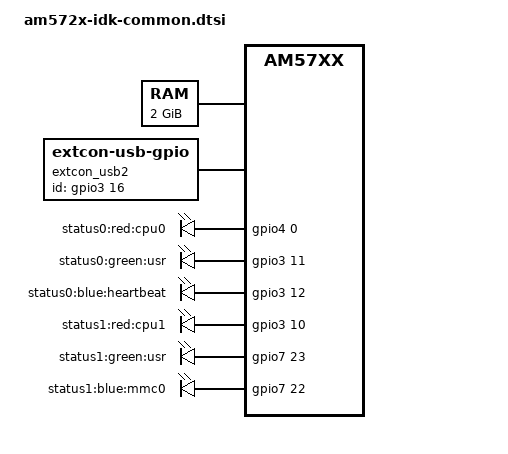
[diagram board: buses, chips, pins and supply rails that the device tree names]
/*
 * Copyright (C) 2015-2016 Texas Instruments Incorporated - http://www.ti.com/
 *
 * This program is free software; you can redistribute it and/or modify
 * it under the terms of the GNU General Public License version 2 as
 * published by the Free Software Foundation.
 */

#include <dt-bindings/gpio/gpio.h>
#include <dt-bindings/interrupt-controller/irq.h>
#include "am57xx-idk-common.dtsi"

/ {
	memory@0 {
		device_type = "memory";
		reg = <0x0 0x80000000 0x0 0x80000000>;
	};

	extcon_usb2: extcon_usb2 {
		compatible = "linux,extcon-usb-gpio";
		id-gpio = <&gpio3 16 GPIO_ACTIVE_HIGH>;
	};

	status-leds {
		compatible = "gpio-leds";
		cpu0-led {
			label = "status0:red:cpu0";
			gpios = <&gpio4 0 GPIO_ACTIVE_HIGH>;
			default-state = "off";
			linux,default-trigger = "cpu0";
		};

		usr0-led {
			label = "status0:green:usr";
			gpios = <&gpio3 11 GPIO_ACTIVE_HIGH>;
			default-state = "off";
		};

		heartbeat-led {
			label = "status0:blue:heartbeat";
			gpios = <&gpio3 12 GPIO_ACTIVE_HIGH>;
			default-state = "off";
			linux,default-trigger = "heartbeat";
		};

		cpu1-led {
			label = "status1:red:cpu1";
			gpios = <&gpio3 10 GPIO_ACTIVE_HIGH>;
			default-state = "off";
			linux,default-trigger = "cpu1";
		};

		usr1-led {
			label = "status1:green:usr";
			gpios = <&gpio7 23 GPIO_ACTIVE_HIGH>;
			default-state = "off";
		};

		mmc0-led {
			label = "status1:blue:mmc0";
			gpios = <&gpio7 22 GPIO_ACTIVE_HIGH>;
			default-state = "off";
			linux,default-trigger = "mmc0";
		};
	};
};

&dra7_pmx_core {
	mmc1_pins_default: mmc1_pins_default {
		pinctrl-single,pins = <
			DRA7XX_CORE_IOPAD(0x3754, PIN_INPUT_PULLUP | MUX_MODE0)/* mmc1_clk.clk */
			DRA7XX_CORE_IOPAD(0x3758, PIN_INPUT | MUX_MODE0)	    /* mmc1_cmd.cmd */
			DRA7XX_CORE_IOPAD(0x375c, PIN_INPUT | MUX_MODE0)	    /* mmc1_dat0.dat0 */
			DRA7XX_CORE_IOPAD(0x3760, PIN_INPUT | MUX_MODE0)	    /* mmc1_dat1.dat1 */
			DRA7XX_CORE_IOPAD(0x3764, PIN_INPUT | MUX_MODE0)	    /* mmc1_dat2.dat2 */
			DRA7XX_CORE_IOPAD(0x3768, PIN_INPUT | MUX_MODE0)	    /* mmc1_dat3.dat3 */
		>;
	};

	mmc1_pins_sdr12: pinmux_mmc1_sdr12_pins {
		pinctrl-single,pins = <
			DRA7XX_CORE_IOPAD(0x3754, PIN_INPUT_PULLUP | MUX_MODE0)/* mmc1_clk.clk */
			DRA7XX_CORE_IOPAD(0x3758, PIN_INPUT | MUX_MODE0)	    /* mmc1_cmd.cmd */
			DRA7XX_CORE_IOPAD(0x375c, PIN_INPUT | MUX_MODE0)	    /* mmc1_dat0.dat0 */
			DRA7XX_CORE_IOPAD(0x3760, PIN_INPUT | MUX_MODE0)	    /* mmc1_dat1.dat1 */
			DRA7XX_CORE_IOPAD(0x3764, PIN_INPUT | MUX_MODE0)	    /* mmc1_dat2.dat2 */
			DRA7XX_CORE_IOPAD(0x3768, PIN_INPUT | MUX_MODE0)	    /* mmc1_dat3.dat3 */
		>;
	};

	mmc1_pins_hs: mmc1_pins_hs {
		pinctrl-single,pins = <
			DRA7XX_CORE_IOPAD(0x3754, PIN_INPUT_PULLUP | MUX_VIRTUAL_MODE11 | MUX_MODE0)/* mmc1_clk.clk */
			DRA7XX_CORE_IOPAD(0x3758, PIN_INPUT | MUX_VIRTUAL_MODE11 | MUX_MODE0)	 /* mmc1_cmd.cmd */
			DRA7XX_CORE_IOPAD(0x375c, PIN_INPUT | MUX_VIRTUAL_MODE11 | MUX_MODE0)	 /* mmc1_dat0.dat0 */
			DRA7XX_CORE_IOPAD(0x3760, PIN_INPUT | MUX_VIRTUAL_MODE11 | MUX_MODE0)	 /* mmc1_dat1.dat1 */
			DRA7XX_CORE_IOPAD(0x3764, PIN_INPUT | MUX_VIRTUAL_MODE11 | MUX_MODE0)	 /* mmc1_dat2.dat2 */
			DRA7XX_CORE_IOPAD(0x3768, PIN_INPUT | MUX_VIRTUAL_MODE11 | MUX_MODE0)	 /* mmc1_dat3.dat3 */
		>;
	};

	mmc1_pins_sdr25: pinmux_mmc1_sdr25_pins {
		pinctrl-single,pins = <
			DRA7XX_CORE_IOPAD(0x3754, PIN_INPUT_PULLUP | MUX_VIRTUAL_MODE11 | MUX_MODE0)/* mmc1_clk.clk */
			DRA7XX_CORE_IOPAD(0x3758, PIN_INPUT | MUX_VIRTUAL_MODE11 | MUX_MODE0)	 /* mmc1_cmd.cmd */
			DRA7XX_CORE_IOPAD(0x375c, PIN_INPUT | MUX_VIRTUAL_MODE11 | MUX_MODE0)	 /* mmc1_dat0.dat0 */
			DRA7XX_CORE_IOPAD(0x3760, PIN_INPUT | MUX_VIRTUAL_MODE11 | MUX_MODE0)	 /* mmc1_dat1.dat1 */
			DRA7XX_CORE_IOPAD(0x3764, PIN_INPUT | MUX_VIRTUAL_MODE11 | MUX_MODE0)	 /* mmc1_dat2.dat2 */
			DRA7XX_CORE_IOPAD(0x3768, PIN_INPUT | MUX_VIRTUAL_MODE11 | MUX_MODE0)	 /* mmc1_dat3.dat3 */
		>;
	};

	mmc1_pins_sdr50: pinmux_mmc1_sdr50_pins {
		pinctrl-single,pins = <
			DRA7XX_CORE_IOPAD(0x3754, PIN_INPUT_PULLUP | MUX_VIRTUAL_MODE10 | MUX_MODE0)/* mmc1_clk.clk */
			DRA7XX_CORE_IOPAD(0x3758, PIN_INPUT | MUX_VIRTUAL_MODE10 | MUX_MODE0)	 /* mmc1_cmd.cmd */
			DRA7XX_CORE_IOPAD(0x375c, PIN_INPUT | MUX_VIRTUAL_MODE10 | MUX_MODE0)	 /* mmc1_dat0.dat0 */
			DRA7XX_CORE_IOPAD(0x3760, PIN_INPUT | MUX_VIRTUAL_MODE10 | MUX_MODE0)	 /* mmc1_dat1.dat1 */
			DRA7XX_CORE_IOPAD(0x3764, PIN_INPUT | MUX_VIRTUAL_MODE10 | MUX_MODE0)	 /* mmc1_dat2.dat2 */
			DRA7XX_CORE_IOPAD(0x3768, PIN_INPUT | MUX_VIRTUAL_MODE10 | MUX_MODE0)	 /* mmc1_dat3.dat3 */
		>;
	};

	mmc1_pins_ddr50: pinmux_mmc1_ddr50_pins {
		pinctrl-single,pins = <
			DRA7XX_CORE_IOPAD(0x3754, PIN_INPUT_PULLUP | MODE_SELECT | MUX_MODE0)/* mmc1_clk.clk */
			DRA7XX_CORE_IOPAD(0x3758, PIN_INPUT | MODE_SELECT | MUX_MODE0)	  /* mmc1_cmd.cmd */
			DRA7XX_CORE_IOPAD(0x375c, PIN_INPUT | MODE_SELECT | MUX_MODE0)	  /* mmc1_dat0.dat0 */
			DRA7XX_CORE_IOPAD(0x3760, PIN_INPUT | MODE_SELECT | MUX_MODE0)	  /* mmc1_dat1.dat1 */
			DRA7XX_CORE_IOPAD(0x3764, PIN_INPUT | MODE_SELECT | MUX_MODE0)	  /* mmc1_dat2.dat2 */
			DRA7XX_CORE_IOPAD(0x3768, PIN_INPUT | MODE_SELECT | MUX_MODE0)	  /* mmc1_dat3.dat3 */
		>;
	};

	mmc1_pins_sdr104: pinmux_mmc1_sdr104_pins {
		pinctrl-single,pins = <
			DRA7XX_CORE_IOPAD(0x3754, PIN_INPUT_PULLUP | MODE_SELECT | MUX_MODE0)/* mmc1_clk.clk */
			DRA7XX_CORE_IOPAD(0x3758, PIN_INPUT | MODE_SELECT | MUX_MODE0)	  /* mmc1_cmd.cmd */
			DRA7XX_CORE_IOPAD(0x375c, PIN_INPUT | MODE_SELECT | MUX_MODE0)	  /* mmc1_dat0.dat0 */
			DRA7XX_CORE_IOPAD(0x3760, PIN_INPUT | MODE_SELECT | MUX_MODE0)	  /* mmc1_dat1.dat1 */
			DRA7XX_CORE_IOPAD(0x3764, PIN_INPUT | MODE_SELECT | MUX_MODE0)	  /* mmc1_dat2.dat2 */
			DRA7XX_CORE_IOPAD(0x3768, PIN_INPUT | MODE_SELECT | MUX_MODE0)	  /* mmc1_dat3.dat3 */
		>;
	};

	mmc2_pins_default: mmc2_pins_default {
		pinctrl-single,pins = <
			DRA7XX_CORE_IOPAD(0x349c, PIN_INPUT_PULLUP | MUX_MODE1)/* gpmc_a23.mmc2_clk */
			DRA7XX_CORE_IOPAD(0x34b0, PIN_INPUT | MUX_MODE1)	   /* gpmc_cs1.mmc2_cmd */
			DRA7XX_CORE_IOPAD(0x34a0, PIN_INPUT | MUX_MODE1)	   /* gpmc_a24.mmc2_dat0 */
			DRA7XX_CORE_IOPAD(0x34a4, PIN_INPUT | MUX_MODE1)	   /* gpmc_a25.mmc2_dat1 */
			DRA7XX_CORE_IOPAD(0x34a8, PIN_INPUT | MUX_MODE1)	   /* gpmc_a26.mmc2_dat2 */
			DRA7XX_CORE_IOPAD(0x34ac, PIN_INPUT | MUX_MODE1)	   /* gpmc_a27.mmc2_dat3 */
			DRA7XX_CORE_IOPAD(0x348c, PIN_INPUT | MUX_MODE1)	   /* gpmc_a19.mmc2_dat4 */
			DRA7XX_CORE_IOPAD(0x3490, PIN_INPUT | MUX_MODE1)	   /* gpmc_a20.mmc2_dat5 */
			DRA7XX_CORE_IOPAD(0x3494, PIN_INPUT | MUX_MODE1)	   /* gpmc_a21.mmc2_dat6 */
			DRA7XX_CORE_IOPAD(0x3498, PIN_INPUT | MUX_MODE1)	   /* gpmc_a22.mmc2_dat7 */
		>;
	};

	mmc2_pins_hs: mmc2_pins_hs {
		pinctrl-single,pins = <
			DRA7XX_CORE_IOPAD(0x349c, PIN_INPUT_PULLUP | MUX_MODE1)/* gpmc_a23.mmc2_clk */
			DRA7XX_CORE_IOPAD(0x34b0, PIN_INPUT | MUX_MODE1)	   /* gpmc_cs1.mmc2_cmd */
			DRA7XX_CORE_IOPAD(0x34a0, PIN_INPUT | MUX_MODE1)	   /* gpmc_a24.mmc2_dat0 */
			DRA7XX_CORE_IOPAD(0x34a4, PIN_INPUT | MUX_MODE1)	   /* gpmc_a25.mmc2_dat1 */
			DRA7XX_CORE_IOPAD(0x34a8, PIN_INPUT | MUX_MODE1)	   /* gpmc_a26.mmc2_dat2 */
			DRA7XX_CORE_IOPAD(0x34ac, PIN_INPUT | MUX_MODE1)	   /* gpmc_a27.mmc2_dat3 */
			DRA7XX_CORE_IOPAD(0x348c, PIN_INPUT | MUX_MODE1)	   /* gpmc_a19.mmc2_dat4 */
			DRA7XX_CORE_IOPAD(0x3490, PIN_INPUT | MUX_MODE1)	   /* gpmc_a20.mmc2_dat5 */
			DRA7XX_CORE_IOPAD(0x3494, PIN_INPUT | MUX_MODE1)	   /* gpmc_a21.mmc2_dat6 */
			DRA7XX_CORE_IOPAD(0x3498, PIN_INPUT | MUX_MODE1)	   /* gpmc_a22.mmc2_dat7 */
		>;
	};

	mmc2_pins_ddr_1_8v: mmc2_pins_ddr_1_8v {
		pinctrl-single,pins = <
			DRA7XX_CORE_IOPAD(0x349c, PIN_INPUT_PULLUP | MODE_SELECT | MUX_MODE1)/* gpmc_a23.mmc2_clk */
			DRA7XX_CORE_IOPAD(0x34b0, PIN_INPUT | MODE_SELECT | MUX_MODE1)	 /* gpmc_cs1.mmc2_cmd */
			DRA7XX_CORE_IOPAD(0x34a0, PIN_INPUT | MODE_SELECT | MUX_MODE1)	 /* gpmc_a24.mmc2_dat0 */
			DRA7XX_CORE_IOPAD(0x34a4, PIN_INPUT | MODE_SELECT | MUX_MODE1)	 /* gpmc_a25.mmc2_dat1 */
			DRA7XX_CORE_IOPAD(0x34a8, PIN_INPUT | MODE_SELECT | MUX_MODE1)	 /* gpmc_a26.mmc2_dat2 */
			DRA7XX_CORE_IOPAD(0x34ac, PIN_INPUT | MODE_SELECT | MUX_MODE1)	 /* gpmc_a27.mmc2_dat3 */
			DRA7XX_CORE_IOPAD(0x348c, PIN_INPUT | MODE_SELECT | MUX_MODE1)	 /* gpmc_a19.mmc2_dat4 */
			DRA7XX_CORE_IOPAD(0x3490, PIN_INPUT | MODE_SELECT | MUX_MODE1)	 /* gpmc_a20.mmc2_dat5 */
			DRA7XX_CORE_IOPAD(0x3494, PIN_INPUT | MODE_SELECT | MUX_MODE1)	 /* gpmc_a21.mmc2_dat6 */
			DRA7XX_CORE_IOPAD(0x3498, PIN_INPUT | MODE_SELECT | MUX_MODE1)	 /* gpmc_a22.mmc2_dat7 */
		>;
	};
};

&dra7_iodelay_core {
	mmc1_iodelay_ddr50_conf: mmc1_iodelay_ddr50_conf {
		pinctrl-pin-array = <
			0x618 A_DELAY_PS(0) G_DELAY_PS(0)	/* CFG_MMC1_CLK_IN */
			0x620 A_DELAY_PS(1271) G_DELAY_PS(0)	/* CFG_MMC1_CLK_OUT */
			0x624 A_DELAY_PS(229) G_DELAY_PS(0)	/* CFG_MMC1_CMD_IN */
			0x628 A_DELAY_PS(0) G_DELAY_PS(0)	/* CFG_MMC1_CMD_OEN */
			0x62C A_DELAY_PS(0) G_DELAY_PS(0)	/* CFG_MMC1_CMD_OUT */
			0x630 A_DELAY_PS(850) G_DELAY_PS(0)	/* CFG_MMC1_DAT0_IN */
			0x634 A_DELAY_PS(0) G_DELAY_PS(0)	/* CFG_MMC1_DAT0_OEN */
			0x638 A_DELAY_PS(20) G_DELAY_PS(0)	/* CFG_MMC1_DAT0_OUT */
			0x63C A_DELAY_PS(468) G_DELAY_PS(0)	/* CFG_MMC1_DAT1_IN */
			0x640 A_DELAY_PS(0) G_DELAY_PS(0)	/* CFG_MMC1_DAT1_OEN */
			0x644 A_DELAY_PS(0) G_DELAY_PS(0)	/* CFG_MMC1_DAT1_OUT */
			0x648 A_DELAY_PS(466) G_DELAY_PS(0)	/* CFG_MMC1_DAT2_IN */
			0x64C A_DELAY_PS(0) G_DELAY_PS(0)	/* CFG_MMC1_DAT2_OEN */
			0x650 A_DELAY_PS(0) G_DELAY_PS(0)	/* CFG_MMC1_DAT2_OUT */
			0x654 A_DELAY_PS(399) G_DELAY_PS(0)	/* CFG_MMC1_DAT3_IN */
			0x658 A_DELAY_PS(0) G_DELAY_PS(0)	/* CFG_MMC1_DAT3_OEN */
			0x65C A_DELAY_PS(0) G_DELAY_PS(0)	/* CFG_MMC1_DAT3_OUT */
		>;
	};

	mmc1_iodelay_sdr104_conf: mmc1_iodelay_sdr104_conf {
		pinctrl-pin-array = <
			0x620 A_DELAY_PS(600) G_DELAY_PS(400)	/* CFG_MMC1_CLK_OUT */
			0x628 A_DELAY_PS(0) G_DELAY_PS(0)	/* CFG_MMC1_CMD_OEN */
			0x62c A_DELAY_PS(0) G_DELAY_PS(0)	/* CFG_MMC1_CMD_OUT */
			0x634 A_DELAY_PS(0) G_DELAY_PS(0)	/* CFG_MMC1_DAT0_OEN */
			0x638 A_DELAY_PS(30) G_DELAY_PS(0)	/* CFG_MMC1_DAT0_OUT */
			0x640 A_DELAY_PS(0) G_DELAY_PS(0)	/* CFG_MMC1_DAT1_OEN */
			0x644 A_DELAY_PS(0) G_DELAY_PS(0)	/* CFG_MMC1_DAT1_OUT */
			0x64c A_DELAY_PS(0) G_DELAY_PS(0)	/* CFG_MMC1_DAT2_OEN */
			0x650 A_DELAY_PS(0) G_DELAY_PS(0)	/* CFG_MMC1_DAT2_OUT */
			0x658 A_DELAY_PS(0) G_DELAY_PS(0)	/* CFG_MMC1_DAT3_OEN */
			0x65c A_DELAY_PS(0) G_DELAY_PS(0)	/* CFG_MMC1_DAT3_OUT */
		>;
	};

	mmc2_iodelay_ddr_1_8v_conf: mmc2_iodelay_ddr_1_8v_conf {
		pinctrl-pin-array = <
			0x18c A_DELAY_PS(270) G_DELAY_PS(0)	/* CFG_GPMC_A19_IN */
			0x1a4 A_DELAY_PS(0) G_DELAY_PS(0)	/* CFG_GPMC_A20_IN */
			0x1b0 A_DELAY_PS(170) G_DELAY_PS(0)	/* CFG_GPMC_A21_IN */
			0x1bc A_DELAY_PS(758) G_DELAY_PS(0)	/* CFG_GPMC_A22_IN */
			0x1c8 A_DELAY_PS(0) G_DELAY_PS(0)	/* CFG_GPMC_A23_IN */
			0x1d4 A_DELAY_PS(81) G_DELAY_PS(0)	/* CFG_GPMC_A24_IN */
			0x1e0 A_DELAY_PS(286) G_DELAY_PS(0)	/* CFG_GPMC_A25_IN */
			0x1ec A_DELAY_PS(0) G_DELAY_PS(0)	/* CFG_GPMC_A26_IN */
			0x1f8 A_DELAY_PS(123) G_DELAY_PS(0)	/* CFG_GPMC_A27_IN */
			0x360 A_DELAY_PS(346) G_DELAY_PS(0)	/* CFG_GPMC_CS1_IN */
			0x190 A_DELAY_PS(0) G_DELAY_PS(0)	/* CFG_GPMC_A19_OEN */
			0x194 A_DELAY_PS(55) G_DELAY_PS(0)	/* CFG_GPMC_A19_OUT */
			0x1a8 A_DELAY_PS(0) G_DELAY_PS(0)	/* CFG_GPMC_A20_OEN */
			0x1ac A_DELAY_PS(422) G_DELAY_PS(0)	/* CFG_GPMC_A20_OUT */
			0x1b4 A_DELAY_PS(642) G_DELAY_PS(0)	/* CFG_GPMC_A21_OEN */
			0x1b8 A_DELAY_PS(0) G_DELAY_PS(0)	/* CFG_GPMC_A21_OUT */
			0x1c0 A_DELAY_PS(0) G_DELAY_PS(0)	/* CFG_GPMC_A22_OEN */
			0x1c4 A_DELAY_PS(128) G_DELAY_PS(0)	/* CFG_GPMC_A22_OUT */
			0x1d0 A_DELAY_PS(0) G_DELAY_PS(0)	/* CFG_GPMC_A23_OUT */
			0x1d8 A_DELAY_PS(0) G_DELAY_PS(0)	/* CFG_GPMC_A24_OEN */
			0x1dc A_DELAY_PS(395) G_DELAY_PS(0)	/* CFG_GPMC_A24_OUT */
			0x1e4 A_DELAY_PS(0) G_DELAY_PS(0)	/* CFG_GPMC_A25_OEN */
			0x1e8 A_DELAY_PS(0) G_DELAY_PS(0)	/* CFG_GPMC_A25_OUT */
			0x1f0 A_DELAY_PS(623) G_DELAY_PS(0)	/* CFG_GPMC_A26_OEN */
			0x1f4 A_DELAY_PS(0) G_DELAY_PS(0)	/* CFG_GPMC_A26_OUT */
			0x1fc A_DELAY_PS(54) G_DELAY_PS(0)	/* CFG_GPMC_A27_OEN */
			0x200 A_DELAY_PS(0) G_DELAY_PS(0)	/* CFG_GPMC_A27_OUT */
			0x364 A_DELAY_PS(0) G_DELAY_PS(0)	/* CFG_GPMC_CS1_OEN */
			0x368 A_DELAY_PS(0) G_DELAY_PS(0)	/* CFG_GPMC_CS1_OUT */
		>;
	};
};

&omap_dwc3_2 {
	extcon = <&extcon_usb2>;
};
